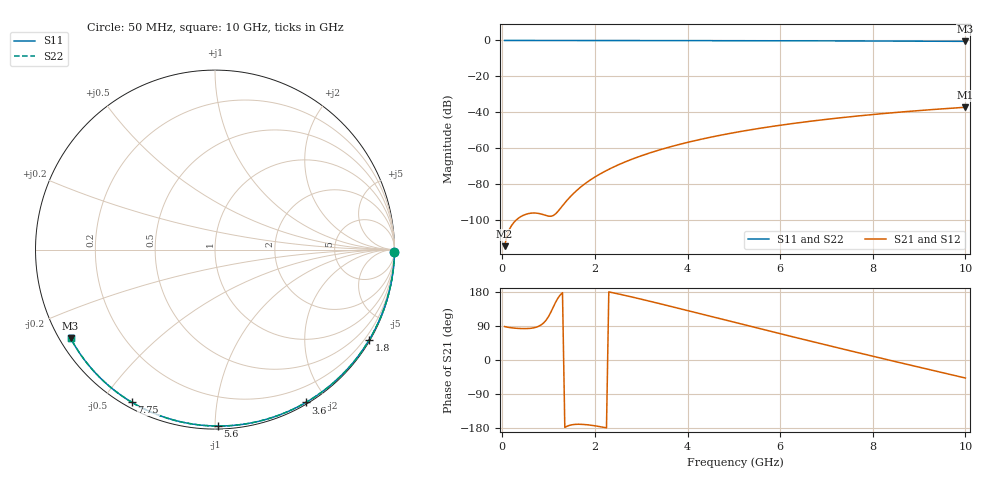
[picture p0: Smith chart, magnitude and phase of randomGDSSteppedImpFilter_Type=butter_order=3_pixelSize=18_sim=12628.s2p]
! freq	dB(S11)	phase(S11)	dB(S12)	phase(S12)
!  dB(S21)	phase(S21)	dB(S22)	phase(S22)
!S-par simulation data
#  GHz  S  DB  R 50
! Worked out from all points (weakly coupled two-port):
!   200 points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, 50 MHz to 10 GHz, reference 50 ohm
!   highest |S21| = -37.22 dB at 10 GHz (marker M1); lowest = -114.6 dB at 50 MHz (marker M2)
!   lowest |S11| = -0.5 dB at 10 GHz (marker M3), VSWR 34.56, Z = 1.56 - j14.1 ohm
!   |S11| at or under -10 dB: nowhere
!   |S22| runs from -0.5 to 0.0 dB; largest |S21 - S12| = 0
!   S11 on the Smith chart (normalised r, x): 50 MHz: open; 1.8 GHz: 0.03, -3.68; 3.6 GHz: 0.02, -1.76; 5.6 GHz: 0.02, -1.02; 7.75 GHz: 0.02, -0.59; 10 GHz: 0.03, -0.28
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0.05  -0.00 -0.9  -114.58 88.3  -114.58 88.3  -0.00 -0.9
0.45  -0.01 -7.7  -97.43 82.9  -97.43 82.9  -0.01 -7.7
0.9  -0.02 -15.3  -97.14 98.7  -97.14 98.7  -0.02 -15.3
1.3  -0.03 -22.1  -92.07 177.7  -92.07 177.7  -0.03 -22.1
1.75  -0.04 -29.5  -80.48 -170.0  -80.48 -170.0  -0.04 -29.5
1.8  -0.04 -30.4  -79.51 -170.5  -79.51 -170.5  -0.04 -30.4
1.95  -0.04 -32.8  -76.87 -172.7  -76.87 -172.7  -0.04 -32.8
2.1  -0.05 -35.3  -74.53 -175.6  -74.53 -175.6  -0.05 -35.3
2.3  -0.05 -38.6  -71.77 179.7  -71.77 179.7  -0.05 -38.6
2.5  -0.05 -41.8  -69.34 174.6  -69.34 174.6  -0.05 -41.8
2.9  -0.06 -48.2  -65.17 163.4  -65.17 163.4  -0.06 -48.2
3.4  -0.07 -56.1  -60.92 148.7  -60.92 148.7  -0.07 -56.1
3.6  -0.08 -59.2  -59.44 142.6  -59.44 142.6  -0.08 -59.2
4.3  -0.10 -69.9  -54.98 121.3  -54.98 121.3  -0.10 -69.9
5.05  -0.12 -81.1  -51.14 98.3  -51.14 98.3  -0.12 -81.1
5.6  -0.15 -89.0  -48.77 81.6  -48.77 81.6  -0.15 -89.0
6.15  -0.17 -96.8  -46.69 64.9  -46.69 64.9  -0.17 -96.8
6.7  -0.20 -104.4  -44.85 48.4  -44.85 48.4  -0.20 -104.4
7.75  -0.28 -118.6  -41.88 17.3  -41.88 17.3  -0.28 -118.6
8.35  -0.33 -126.6  -40.44 -0.2  -40.44 -0.2  -0.33 -126.6
9.2  -0.41 -137.8  -38.65 -24.7  -38.65 -24.7  -0.41 -137.8
10  -0.50 -148.5  -37.22 -47.5  -37.22 -47.5  -0.50 -148.5
